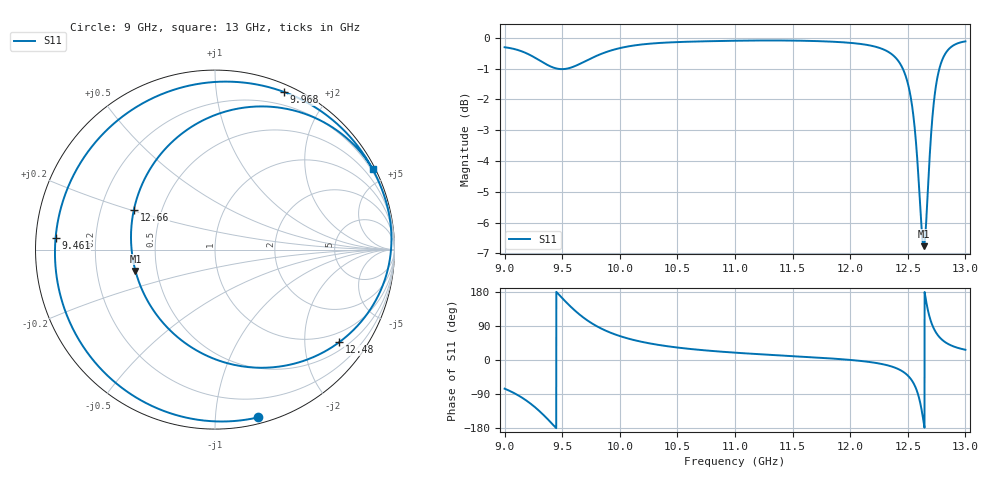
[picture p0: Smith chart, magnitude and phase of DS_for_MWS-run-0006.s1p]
! TOUCHSTONE file generated by CST DESIGN STUDIO
! Date and time: Tue Feb  4 17:33:42 2025
! Project name: C:\Work\MatlabApps\UnitCellOptimizationMatlab\CST\unitcell.cst
! Tree item: Tasks\Sweep1\SPara1\S-Parameters
! Header version: 2024
! Port assignment regex: !\s*Touchstone port\s*([0-9]+)\s*=\s*(CST MWS port|CST DES external port|CST DES block port)\s*(.+)\s* \(\"(.*)\"\)(\s*mode\s*([0-9]+))?.*
! Touchstone port assignment:
! Touchstone port 1 = CST DES external port 1 ("")
# GHz S MA R 50
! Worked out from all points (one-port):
!   4001 points, 9 GHz to 13 GHz, reference 50 ohm
!   lowest |S11| = -6.8 dB at 12.64 GHz (marker M1), VSWR 2.70, Z = 18.8 - j5.68 ohm
!   |S11| at or under -10 dB: nowhere
!   S11 on the Smith chart (normalised r, x): 9 GHz: 0.05, -1.29; 9.461 GHz: 0.06, +0.04; 9.968 GHz: 0.07, +1.52; 12.48 GHz: 0.70, -2.85; 12.66 GHz: 0.35, +0.21; 13 GHz: 0.13, +4.17
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9  0.9651 -75.7
9.139  0.9519 -97.1
9.244  0.9325 -119.6
9.366  0.9045 -153.6
9.461  0.8905 175.9
9.5  0.8892 163.3
9.6  0.8977 133.3
9.698  0.9155 108.9
9.968  0.9586 66.5
10  0.9619 63.2
10.215  0.9762 46.4
10.5  0.9838 32.9
11  0.9888 19.4
11.5  0.9893 10.2
12  0.981 0.2
12.335  0.9475 -14.9
12.485  0.8628 -36.8
12.5  0.8436 -41.0
12.542  0.764 -57.2
12.582  0.6359 -84.0
12.609  0.5261 -114.7
12.638  0.4589 -165.0
12.66  0.5036 153.8
12.698  0.6787 104.5
12.74  0.8246 74.9
12.784  0.904 57.3
12.837  0.9491 44.7
13  0.9864 27.0
